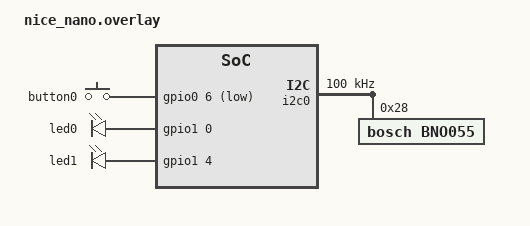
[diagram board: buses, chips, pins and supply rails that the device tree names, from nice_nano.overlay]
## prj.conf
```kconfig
CONFIG_USE_DT_CODE_PARTITION=y
CONFIG_PRINTK=y
CONFIG_ENTROPY_GENERATOR=y
CONFIG_TEST_RANDOM_GENERATOR=y
CONFIG_MULTITHREADING=y
```

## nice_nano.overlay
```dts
#include <zephyr/dt-bindings/gpio/gpio.h>
#include <zephyr/dt-bindings/i2c/i2c.h>
#include <zephyr/dt-bindings/pinctrl/nrf-pinctrl.h>

&button0 {
    gpios = <&gpio0 6 (GPIO_PULL_UP | GPIO_ACTIVE_LOW)>;
};

&led0 {
    gpios = <&gpio1 0 GPIO_ACTIVE_HIGH>;  /* Header 100 */
};

&led1 {
    gpios = <&gpio1 4 GPIO_ACTIVE_HIGH>;  /* Header 104 */
};

&{/leds} {
    external_led2: led_2 {
        gpios = <&gpio1 6 GPIO_ACTIVE_HIGH>;  /* Header 106 */
    };
};

/ {
    aliases {
        led2 = &external_led2;
    };
};

/* The Feather's external flash shares D2 and D3 with our I2C wiring. */
&gd25q16 {
    status = "disabled";
};

&qspi {
    status = "disabled";
};

&i2c0_default {
    group1 {
        psels = <NRF_PSEL(TWIM_SDA, 0, 17)>,
                <NRF_PSEL(TWIM_SCL, 0, 20)>;
    };
};

&i2c0_sleep {
    group1 {
        psels = <NRF_PSEL(TWIM_SDA, 0, 17)>,
                <NRF_PSEL(TWIM_SCL, 0, 20)>;
        low-power-enable;
    };
};

&i2c0 {
    status = "okay";
    clock-frequency = <I2C_BITRATE_STANDARD>;

    bno055: bno055@28 {
        compatible = "bosch,bno055";
        reg = <0x28>;
        status = "okay";
    };
};
```

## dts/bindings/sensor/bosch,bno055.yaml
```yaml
description: Bosch BNO055 orientation sensor accessed through the I2C API
compatible: "bosch,bno055"
include: i2c-device.yaml
```

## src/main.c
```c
/*
 * Copyright (c) 2017 Linaro Limited
 *
 * SPDX-License-Identifier: Apache-2.0
 */

#include <zephyr/kernel.h>
#include <zephyr/sys/printk.h>
#include "ncs_version.h"
#if NCS_VERSION_NUMBER < 0x20600
#include <zephyr/random/rand32.h>
#else 
#include <zephyr/random/random.h>
#endif
#include <string.h>

#define THREAD0_STACKSIZE 1024
#define THREAD1_STACKSIZE 1024

/* STEP 3 - Set the priority of the two threads to have equal priority*/
#define THREAD0_PRIORITY        4 
#define THREAD1_PRIORITY        4

/* STEP 5 - Define the two counters with a constant combined total */
#define COMBINED_TOTAL   40
int32_t increment_count = 0; 
int32_t decrement_count = COMBINED_TOTAL; 

/* STEP 11 - Define mutex to protect access to shared code section */
K_MUTEX_DEFINE(test_mutex);

// Shared code run by both threads
void shared_code_section(void)
{
    /* STEP 12.1 - Lock the mutex */
	k_mutex_lock(&test_mutex, K_FOREVER);

    /* STEP 6 - Increment count and decrement count changed */
    /* according to logic defined in exercise text */
	uint8_t race_condition = 0;
	int32_t increment_count_copy = 0;
	int32_t decrement_count_copy = 0;

	increment_count += 1;
	increment_count = increment_count % COMBINED_TOTAL; 

	decrement_count -= 1;
	if (decrement_count == 0) 
	{
		decrement_count = COMBINED_TOTAL;
	}

    /* STEP 7 - Detect race condition if the values of the counters do not add up to COMBINED_TOTAL */
    if (increment_count + decrement_count != COMBINED_TOTAL) {
		race_condition = 1;

		/* STEP 12.2 - Copy the values of the counters*/
        increment_count_copy = increment_count;
        decrement_count_copy = decrement_count;
    }
	k_mutex_unlock(&test_mutex);
    
    if( race_condition ){
        printk("Race condition happend!\n");
        printk("Increment_count (%d) + Decrement_count (%d) = %d \n", increment_count,
               decrement_count, (increment_count + decrement_count));
        k_msleep(400 + sys_rand32_get() % 10);
    }
 	
    /* STEP 12.4  - Print counter values (copied) if they do not add up to COMBINED_TOTAL */
    if( race_condition ){
        printk("Race condition happend!\n");
        printk("Increment_count (%d) + Decrement_count (%d) = %d \n", increment_count_copy,
            decrement_count_copy, (increment_count_copy + decrement_count_copy));
        k_msleep(400 + sys_rand32_get() % 10);
    }

}

/* STEP 4 - Functions for thread0 and thread1 with a shared code section */
void thread0(void)
{
	printk("Thread 0 started\n");
	while (1) {
		shared_code_section(); 
	}
}

void thread1(void)
{
	printk("Thread 1 started\n");
	while (1) {
		shared_code_section(); 
	}
}

// Define and initialize threads
K_THREAD_DEFINE(thread0_id, THREAD0_STACKSIZE, thread0, NULL, NULL, NULL, THREAD0_PRIORITY, 0,
        5000);

K_THREAD_DEFINE(thread1_id, THREAD1_STACKSIZE, thread1, NULL, NULL, NULL, THREAD1_PRIORITY, 0,
        5000);
```
